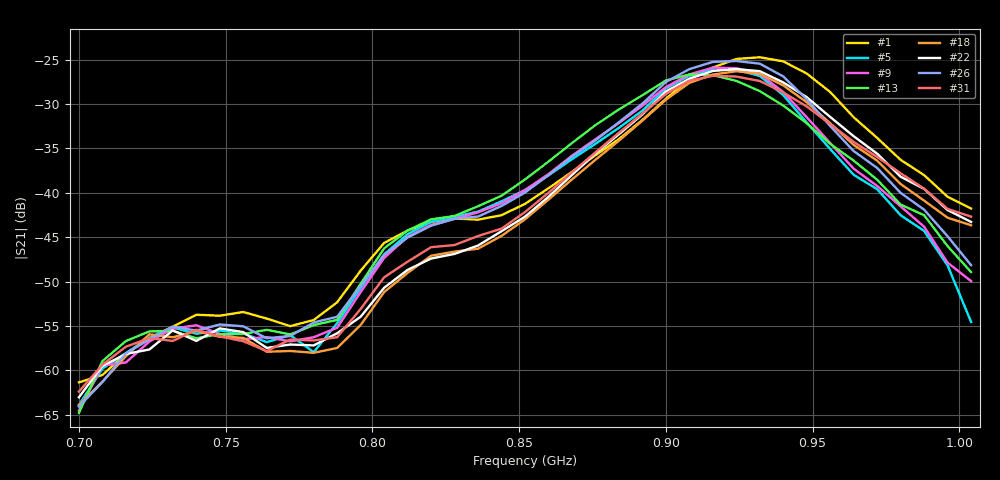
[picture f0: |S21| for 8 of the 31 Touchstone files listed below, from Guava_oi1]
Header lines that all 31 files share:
# Hz S RI R 50
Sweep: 700 MHz to 1.004 GHz
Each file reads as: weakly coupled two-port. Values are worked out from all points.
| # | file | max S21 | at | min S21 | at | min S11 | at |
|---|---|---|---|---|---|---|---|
| 1 | moitruongoi.s2p | -24.74 dB | 932 MHz | -61.3 dB | 700 MHz | -20.8 dB | 932 MHz |
| 2 | oi1.s2p | -25.11 dB | 924 MHz | -64.7 dB | 700 MHz | -16.6 dB | 924 MHz |
| 3 | oi1x90 (1).s2p | -25.58 dB | 924 MHz | -63.3 dB | 700 MHz | -17.4 dB | 924 MHz |
| 4 | oi1x90 (2).s2p | -26.34 dB | 924 MHz | -63.7 dB | 700 MHz | -15.0 dB | 924 MHz |
| 5 | oi1x90 (3).s2p | -26.14 dB | 916 MHz | -63.9 dB | 700 MHz | -18.1 dB | 924 MHz |
| 6 | oi1x90 (4).s2p | -25.82 dB | 924 MHz | -63.4 dB | 700 MHz | -17.8 dB | 924 MHz |
| 7 | oi1x90 (5).s2p | -25.67 dB | 924 MHz | -64.3 dB | 700 MHz | -18.0 dB | 924 MHz |
| 8 | oi1x90 (6).s2p | -26.04 dB | 924 MHz | -62.8 dB | 700 MHz | -18.3 dB | 924 MHz |
| 9 | oi1x90 (7).s2p | -25.91 dB | 916 MHz | -64.5 dB | 700 MHz | -16.7 dB | 924 MHz |
| 10 | oi1x90 (8).s2p | -27.21 dB | 924 MHz | -63.8 dB | 700 MHz | -18.3 dB | 932 MHz |
| 11 | oi1x90 (9).s2p | -26.04 dB | 916 MHz | -62.7 dB | 700 MHz | -15.9 dB | 924 MHz |
| 12 | oi1x90 (10).s2p | -26.24 dB | 924 MHz | -63.2 dB | 700 MHz | -16.8 dB | 924 MHz |
| 13 | oi1x180 (1).s2p | -26.66 dB | 908 MHz | -64.8 dB | 700 MHz | -17.2 dB | 924 MHz |
| 14 | oi1x180 (2).s2p | -25.63 dB | 924 MHz | -63.5 dB | 700 MHz | -16.8 dB | 924 MHz |
| 15 | oi1x180 (3).s2p | -25.93 dB | 916 MHz | -64.4 dB | 700 MHz | -18.9 dB | 924 MHz |
| 16 | oi1x180 (4).s2p | -25.90 dB | 916 MHz | -62.9 dB | 700 MHz | -20.0 dB | 924 MHz |
| 17 | oi1x180 (5).s2p | -26.42 dB | 924 MHz | -63.7 dB | 700 MHz | -15.7 dB | 924 MHz |
| 18 | oi1x180 (6).s2p | -26.31 dB | 924 MHz | -63.9 dB | 700 MHz | -18.4 dB | 924 MHz |
| 19 | oi1x180 (7).s2p | -26.04 dB | 916 MHz | -62.2 dB | 700 MHz | -17.8 dB | 924 MHz |
| 20 | oi1x180 (8).s2p | -27.59 dB | 924 MHz | -63.4 dB | 700 MHz | -18.5 dB | 924 MHz |
| 21 | oi1x180 (9).s2p | -25.79 dB | 916 MHz | -62.1 dB | 700 MHz | -17.4 dB | 924 MHz |
| 22 | oi1x180 (10).s2p | -26.07 dB | 924 MHz | -63.0 dB | 700 MHz | -18.5 dB | 924 MHz |
| 23 | oi2.s2p | -25.89 dB | 924 MHz | -63.2 dB | 700 MHz | -15.3 dB | 924 MHz |
| 24 | oi3.s2p | -25.92 dB | 916 MHz | -63.4 dB | 700 MHz | -15.3 dB | 916 MHz |
| 25 | oi4.s2p | -25.83 dB | 924 MHz | -62.6 dB | 700 MHz | -15.8 dB | 924 MHz |
| 26 | oi5.s2p | -25.16 dB | 924 MHz | -64.1 dB | 700 MHz | -18.6 dB | 924 MHz |
| 27 | oi6.s2p | -25.92 dB | 924 MHz | -64.0 dB | 700 MHz | -17.2 dB | 924 MHz |
| 28 | oi7.s2p | -25.93 dB | 916 MHz | -62.4 dB | 700 MHz | -18.1 dB | 924 MHz |
| 29 | oi8.s2p | -28.20 dB | 924 MHz | -63.1 dB | 788 MHz | -16.0 dB | 932 MHz |
| 30 | oi9.s2p | -25.66 dB | 916 MHz | -63.4 dB | 700 MHz | -18.1 dB | 924 MHz |
| 31 | oi10.s2p | -26.82 dB | 916 MHz | -62.4 dB | 700 MHz | -18.2 dB | 932 MHz |
